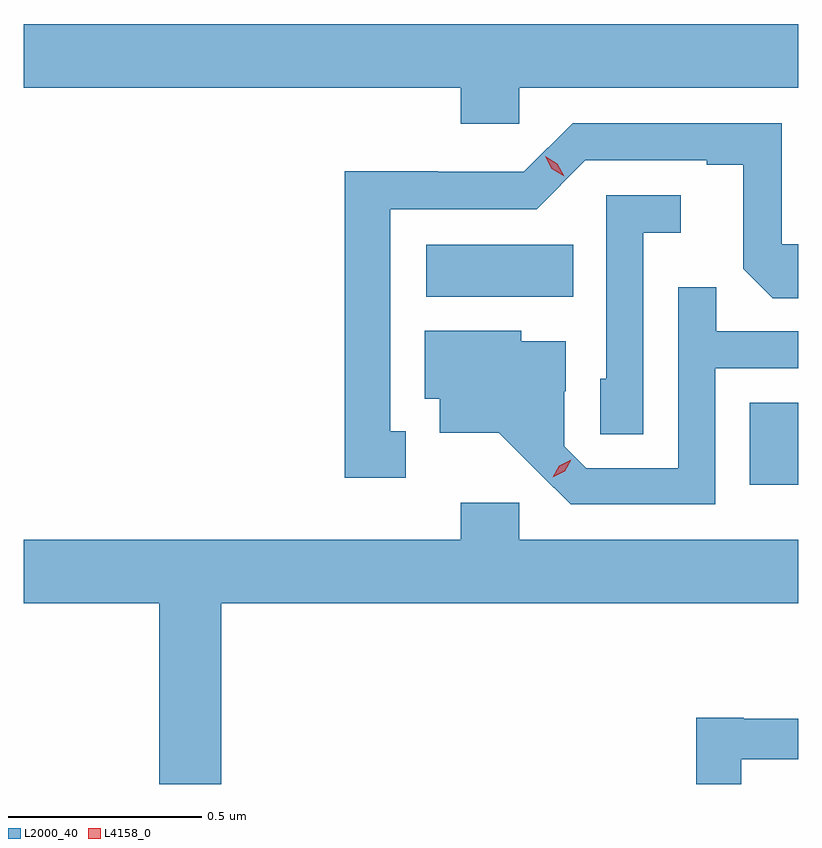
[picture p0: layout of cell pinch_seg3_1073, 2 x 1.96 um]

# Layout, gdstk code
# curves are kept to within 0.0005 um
import gdstk
lib = gdstk.Library(unit=1e-6, precision=1e-09)
def R(c, l, rs):  # rectangles x0, y0, x1, y1
    for r in rs: c.add(gdstk.rectangle(r[:2], r[2:], *l))
def P(c, l, *ps):  # polygons
    for p in ps: c.add(gdstk.Polygon(p, *l))
L2000_40 = (2000, 40)
L4158_0 = (4158, 0)

pinch_seg3_1073 = lib.new_cell('pinch_seg3_1073')
R(pinch_seg3_1073, L2000_40, [(338.678,703.886,338.803,704.098), (337.842,704.372,338.222,704.506)])
P(pinch_seg3_1073, L2000_40, [(338.082,704.912),(338.803,704.912),(338.803,705.076),(336.803,705.076),(336.803,704.912),(337.931,704.912),(337.931,704.819),(338.082,704.819)],
  [(337.789,704.025),(337.75,704.025),(337.75,704.598),(338.127,704.598),(338.253,704.724),(338.567,704.724),(338.567,704.712),(338.661,704.712),(338.661,704.444),(338.737,704.368),(338.803,704.368),(338.803,704.508),(338.76,704.508),(338.76,704.82),(338.22,704.82),(338.094,704.694),(337.872,704.694),(337.872,704.696),(337.632,704.696),(337.632,703.905),(337.789,703.905)],
  [(338.403,704.537),(338.5,704.537),(338.5,704.634),(338.307,704.634),(338.307,704.16),(338.292,704.16),(338.292,704.017),(338.403,704.017)],
  [(338.589,704.187),(338.803,704.187),(338.803,704.283),(338.591,704.283),(338.591,704.396),(338.493,704.396),(338.493,703.929),(338.256,703.929),(338.199,703.986),(338.199,704.128),(338.203,704.128),(338.203,704.257),(338.088,704.257),(338.088,704.284),(337.838,704.284),(337.838,704.108),(337.877,704.108),(337.877,704.021),(338.029,704.021),(338.216,703.836),(338.589,703.836)],
  [(337.313,703.58),(338.803,703.58),(338.803,703.744),(338.082,703.744),(338.082,703.84),(337.931,703.84),(337.931,703.744),(336.803,703.744),(336.803,703.58),(337.153,703.58),(337.153,703.114),(337.313,703.114)],
  [(338.655,703.178),(338.803,703.178),(338.803,703.282),(338.662,703.282),(338.662,703.285),(338.539,703.285),(338.539,703.114),(338.655,703.114)])
P(pinch_seg3_1073, L4158_0, [(338.169,703.906),(338.169,703.906),(338.186,703.936),(338.217,703.951),(338.217,703.951),(338.217,703.951),(338.2,703.922),(338.169,703.906)],
  [(338.198,704.683),(338.166,704.702),(338.149,704.734),(338.149,704.735),(338.149,704.735),(338.181,704.715),(338.198,704.683),(338.198,704.683)])

lib.write_gds('pinch_seg3_1073.gds')
